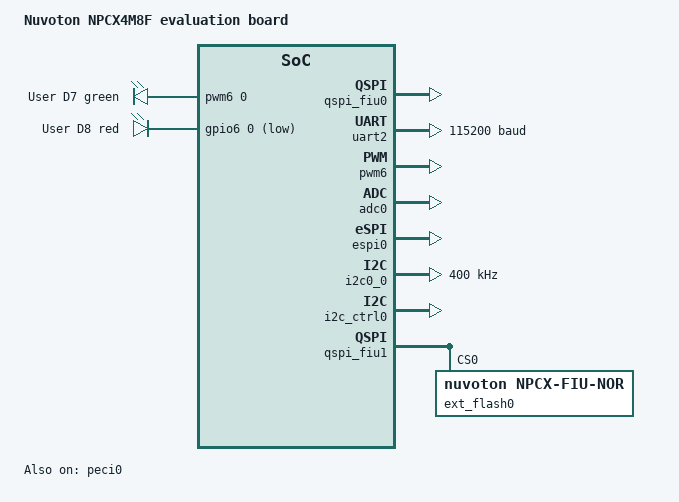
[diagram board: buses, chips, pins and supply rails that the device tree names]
/*
 * Copyright (C) 2023 Advanced Micro Devices, Inc. All rights reserved.
 */

/dts-v1/;

#include <nuvoton/npcx4m8f.dtsi>
#include <nuvoton/npcx/npcx4/npcx4-pinctrl.dtsi>

/ {
	model = "Nuvoton NPCX4M8F evaluation board";

	chosen {
		zephyr,sram = &sram0;
		zephyr,console = &uart2;
		zephyr,flash = &flash0;
		zephyr,keyboard-scan = &kscan0;
		zephyr,shell-uart = &uart2;
		zephyr,code-partition = &slot0_partition;

	};

	aliases {
		pwm-led0 = &pwm_led0_green;
		led0 = &gpio_led_red;
		pwm-0 = &pwm6;
		i2c-0 = &i2c0_0;
		watchdog0 = &twd0;
		peci-0 = &peci0;
		spi-flash0 = &int_flash;
		taf-flash = &int_flash;
		/* For kscan test suites */
		kscan0 = &kscan0;
	};

	leds-pwm {
		compatible = "pwm-leds";
		pwm_led0_green: pwm_led_0 {
			pwms = <&pwm6 0 PWM_MSEC(20) PWM_POLARITY_INVERTED>;
			label = "User D7 green";
		};
	};

	leds-gpio {
		compatible = "gpio-leds";
		gpio_led_red: led_0 {
			gpios = <&gpio6 0 GPIO_ACTIVE_LOW>;
			label = "User D8 red";
		};
	};


};

&qspi_fiu0 {
				
				partitions {
					compatible = "fixed-partitions";
					#address-cells = < 0x1 >;
					#size-cells = < 0x1 >;
					boot_partition: partition@0 {
						label = "mcuboot";
						reg = < 0x0 0xc000 >;
					};
					slot0_partition: partition@c000 {
						label = "image-0";
						reg = < 0xc000 0x32000 >;
					};
					slot1_partition: partition@3e000 {
						label = "image-1";
						reg = < 0x3e000 0x32000 >;
					};
					scratch_partition: partition@70000 {
						label = "image-scratch";
						reg = < 0x70000 0xa000 >;
					};
					storage_partition: partition@7a000 {
						label = "storage";
						reg = < 0x7a000 0x4000 >;
					};
					user_partition: partition@7e000 {
						label = "user_storage";
						reg = < 0x7e000 0x2000 >;
					};
				};
			};
/* Overwrite default device properties with overlays in board dt file here. */

&uart2 {
	status = "okay";
	current-speed = <115200>;
	/* Use UART2 ie. PIN75.86 */
	pinctrl-0 = <&uart2_sin_gp75 &uart2_sout_gp86>;
	pinctrl-names = "default";
};

&pwm6 {
	status = "okay";
	pinctrl-0 = <&pwm6_gpc0>;
	pinctrl-names = "default";
};

&adc0 {
	status = "okay";
	/* Use adc0 channel 0 and 2 for 'adc_api' driver tests */
	pinctrl-0 = <&adc0_chan0_gp45 &adc0_chan2_gp43>;
	pinctrl-names = "default";
};

&espi0 {
	status = "okay";
	pinctrl-0 = <&espi_lpc_gp46_47_51_52_53_54_55_57>;
	pinctrl-names = "default";
};

&i2c0_0 {
	status = "okay";
	pinctrl-0 = <&i2c0_0_sda_scl_gpb4_b5>;
	pinctrl-names = "default";
	clock-frequency = <I2C_BITRATE_FAST>;
};

&i2c_ctrl0 {
	status = "okay";
};


&qspi_fiu0 {
	status = "okay";
};

&qspi_fiu1 {
          status = "okay";
          ext_flash0: ext_flash0@0 {
                   compatible ="nuvoton,npcx-fiu-nor";
                   size = <0x10000000>; /* 268435456 bits = 32M Bytes */
                   max-timeout = <86784>;
                   reg = <0>;
                   quad-enable-requirements = "S2B1v1"; 
                   status = "okay";

                   /* Enable 4Byte address mode when the flash size > 16MB */
                    enter-4byte-addr = <0x85>; 

                   /* quad spi bus configuration of nor flash device */
                   qspi-flags = <NPCX_QSPI_SW_CS0>;
                   mapped-addr = <0x68000000>;
                   pinctrl-0 = <&fiu_ext_io0_io1_clk_cs_gpa4_96_a2_a0
                                  &fiu_ext_quad_io2_io3_gp93_a7
                                  &ext_flash_tris_off>;
                   pinctrl-names = "default";
          };       
};

&peci0 {
	status = "okay";
	pinctrl-0 = <&peci_dat_gp81>;
	pinctrl-names = "default";
};

&kscan0 {
	/* Demonstrate a 13 x 8 keyboard matrix on evb */
	pinctrl-0 = <&ksi0_gp31 /* KSI0 PIN31 */
		     &ksi1_gp30 /* KSI1 PIN30 */
		     &ksi2_gp27 /* KSI2 PIN27 */
		     &ksi3_gp26 /* KSI3 PIN26 */
		     &ksi4_gp25 /* KSI4 PIN25 */
		     &ksi5_gp24 /* KSI5 PIN24 */
		     &ksi6_gp23 /* KSI6 PIN23 */
		     &ksi7_gp22 /* KSI7 PIN22 */
		     &kso00_gp21 /* KSO00 PIN21 */
		     &kso01_gp20 /* KSO01 PIN20 */
		     &kso02_gp17 /* KSO02 PIN17 */
		     &kso03_gp16 /* KSO03 PIN16 */
		     &kso04_gp15 /* KSO04 PIN15 */
		     &kso05_gp14 /* KSO05 PIN14 */
		     &kso06_gp13 /* KSO06 PIN13 */
		     &kso07_gp12 /* KSO07 PIN12 */
		     &kso08_gp11 /* KSO08 PIN11 */
		     &kso09_gp10 /* KSO09 PIN10 */
		     &kso10_gp07 /* KSO10 PIN07 */
		     &kso11_gp06 /* KSO11 PIN06 */
		     &kso12_gp05 /* KSO12 PIN05 */
		     >;
	pinctrl-names = "default";
	row-size = <8>;
	col-size = <13>;
	status = "disabled";

};
